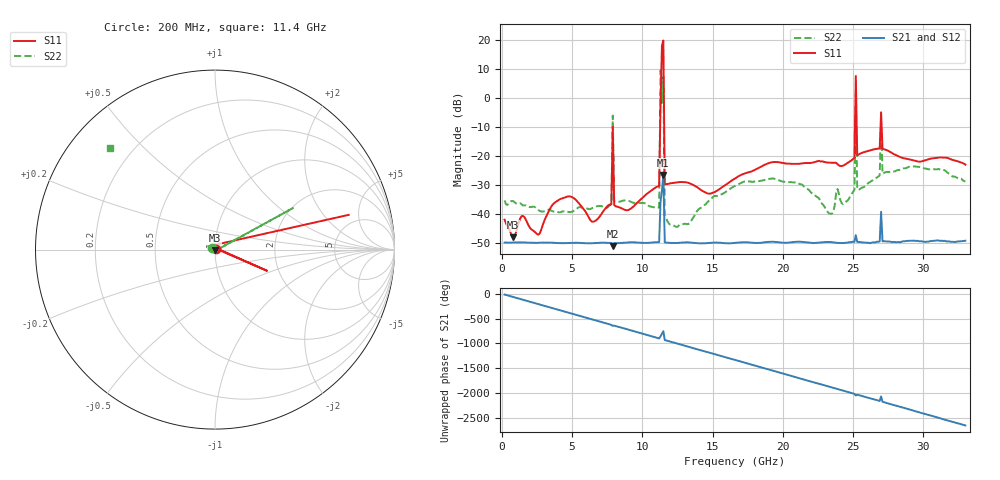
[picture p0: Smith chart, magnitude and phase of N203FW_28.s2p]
# GHZ S RI R 50
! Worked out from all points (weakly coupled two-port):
!   329 points, 200 MHz to 33 GHz, reference 50 ohm
!   highest |S21| = -26.64 dB at 11.5 GHz (marker M1); lowest = -51.2 dB at 7.9 GHz (marker M2)
!   lowest |S11| = -48.2 dB at 800 MHz (marker M3), VSWR 1.01, Z = 50 - j0.389 ohm
!   |S11| at or under -10 dB: start of sweep to 11.27 GHz; 11.56 GHz to 25.14 GHz (13.58 GHz wide, 74 % of centre); 27.04 GHz to end of sweep (the widest 3 of 4)
!   |S22| runs from -44.6 to 9.5 dB; largest |S21 - S12| = 0.011
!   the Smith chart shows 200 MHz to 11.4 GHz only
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0.2  0.00566 0.00548  0.00305 -0.000895  0.00306 -0.000888  -0.0143 0.00913
0.8  -0.00017 -0.00389  0.00139 -0.00287  0.00138 -0.00287  -0.013 0.0102
5.7  0.00613 0.0115  -0.000438 -0.00309  -0.000454 -0.00309  0.00646 -0.011
7.8  -0.00898 0.0114  -0.000206 0.00311  -0.000214 0.00312  -0.00828 -0.0123
7.9  0.2904 -0.1183  0.00085 0.00262  0.000837 0.00252  0.4342 0.2312
8  -0.00458 0.0132  0.000655 0.00303  0.000655 0.00304  -0.0107 -0.0123
11.2  0.00976 0.0287  -0.00322 -5.48e-05  -0.00323 -5.98e-05  -0.0107 0.00677
11.3  0.7448 0.1936  -0.0116 -0.0115  -0.0119 -0.00847  0.4274 2.944
11.4  4.305 6.631  0.00296 -0.025  0.002 -0.0241  -0.5833 0.5647
11.5  9.203 -3.192  0.0387 -0.0259  0.0381 -0.0265  -0.2215 -2.271
11.6  0.0283 0.015  -0.00271 0.0017  -0.00271 0.0017  -0.00705 0.00575
16.6  -0.0332 0.0229  -0.00105 0.00296  -0.00104 0.00295  -0.0297 0.00535
22.1  -0.0296 -0.0696  0.00282 0.00135  0.00283 0.00135  0.0195 0.0112
23.5  0.00634 0.0753  0.000156 -0.00321  0.000145 -0.00323  0.00948 -0.00303
25.1  -0.0401 -0.0833  -0.00269 0.00182  -0.00272 0.00183  -0.0244 -0.00841
25.2  2.279 0.6727  -0.0016 0.00395  -0.0014 0.00397  0.2816 0.5359
25.3  -0.0757 -0.0673  -0.00209 0.00251  -0.00207 0.0025  -0.0268 -0.00341
26.9  0.0631 0.1168  0.00333 0.000191  0.00328 0.00016  -0.0409 0.0209
27  0.4097 -0.3815  -0.000642 0.0108  -0.000711 0.000143  -0.2154 0.3372
27.1  0.1002 0.0849  0.00324 -0.00078  0.00323 -0.000801  -0.0408 0.027
27.6  0.1147 -0.0281  0.00184 -0.00275  0.00189 -0.00271  -0.0361 0.0381
33  0.017 0.0682  -0.00219 -0.00261  -0.0022 -0.00259  0.0337 0.012
